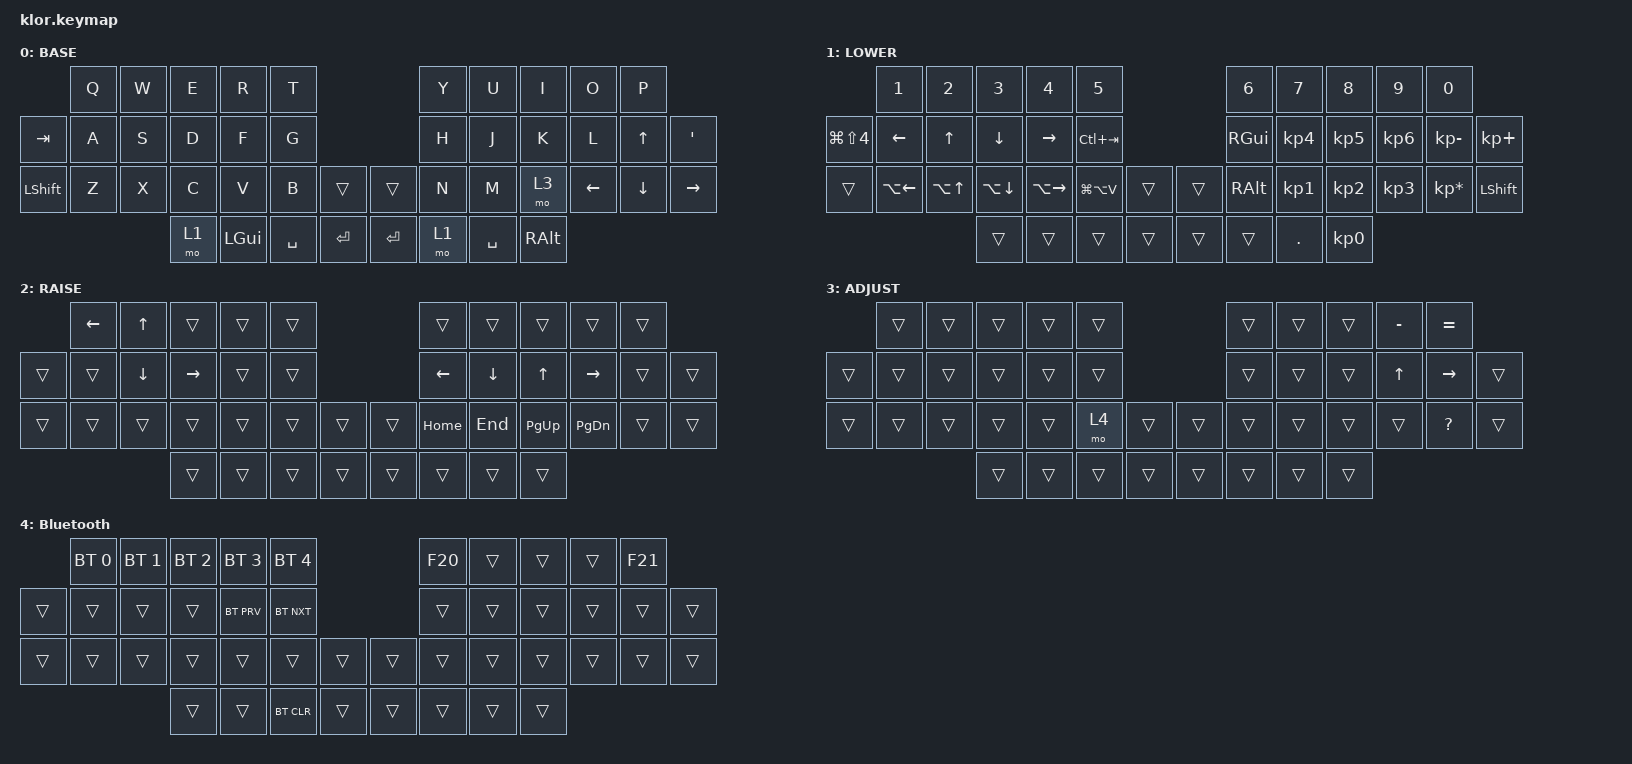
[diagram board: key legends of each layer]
//                               █         █    █            ▄▄▄▀▀▀▀▀▀▄▄▄        █▀▀▀▀▀▀▀▀▀▀█
//                               █        █     █          ▄▀            ▀▄      █          █
//                               █       █      █        ▄▀                ▀▄    █          █
//                               █      █       █        █                  █    █          █
//                               █     █        █       █                    █   █          █
//                               █    █         █       █                    █   █▄▄▄▄▄▄▄▄▄▄█
//                               █   █ █        █       █                    █   █      █
//                               █  █   █       █        █                  █    █       █
//                               █ █     █      █        ▀▄                ▄▀    █        █
//                               ██       █     █          ▀▄            ▄▀      █         █
//                               █         █    █▄▄▄▄▄▄▄▄    ▀▀▀▄▄▄▄▄▄▀▀▀        █          █
//
// ▄▄▄▄▄▄▄▄▄▄▄▄▄▄▄▄▄▄▄▄▄▄▄▄▄▄▄▄▄▄▄▄▄▄▄▄▄▄▄▄▄▄▄▄▄▄▄▄▄▄▄▄▄▄▄▄▄▄▄▄▄▄▄▄▄▄▄▄▄▄▄▄▄▄▄▄▄▄▄▄▄▄▄▄▄▄▄▄▄▄▄▄▄▄▄▄▄▄▄▄▄▄▄▄▄▄▄▄▄▄▄▄▄▄▄▄▄▄▄▄▄▄▄▄▄

#include <behaviors.dtsi>
#include <dt-bindings/zmk/keys.h>
#include <dt-bindings/zmk/bt.h>

#define BASE   0
#define LOWER  1
#define RAISE  2
#define ADJUST 3

/ {
    combos {
        compatible = "zmk,combos";

        combo_esc {
            timeout-ms = <50>;
            key-positions = <0 1>;
            bindings = <&kp ESC>;
        };

        combo_PP {
            timeout-ms = <50>;
            key-positions = <4 5>;
            bindings = <&kp K_PP>;
        };

        combo_EXCLAMATION {
            bindings = <&kp EXCLAMATION>;
            key-positions = <1 2>;
        };

        combo_AT_SIGN {
            bindings = <&kp AT_SIGN>;
            key-positions = <12 13 14>;
        };

        combo_HASH {
            bindings = <&kp HASH>;
            key-positions = <0 2>;
        };

        combo_DOLLAR {
            bindings = <&kp DOLLAR>;
            key-positions = <1 4>;
        };

        combo_PERCENT {
            bindings = <&kp PERCENT>;
            key-positions = <1 3>;
        };

        combo_CARET {
            bindings = <&kp CARET>;
            key-positions = <17 19>;
        };

        combo_AMPERSAND {
            bindings = <&kp AMPERSAND>;
            key-positions = <18 17>;
        };

        combo_ASTERISK {
            bindings = <&kp ASTERISK>;
            key-positions = <18 19>;
        };

        combo_LEFT_PARENTHESIS {
            bindings = <&kp LEFT_PARENTHESIS>;
            key-positions = <6 7>;
        };

        combo_RIGHT_PARENTHESIS {
            bindings = <&kp RIGHT_PARENTHESIS>;
            key-positions = <7 8>;
        };

        combo_VOLUME_UP {
            bindings = <&kp C_VOLUME_UP>;
            key-positions = <25 26>;
        };

        combo_VOLUME_DOWN {
            bindings = <&kp C_VOLUME_DOWN>;
            key-positions = <23 24>;
        };

        combo_PLAY_PAUSE {
            bindings = <&kp C_PP>;
            key-positions = <24 25>;
        };

        combo_MUTE {
            bindings = <&kp C_MUTE>;
            key-positions = <23 24 25>;
        };

        Combo_BACKSPACE {
            bindings = <&kp BACKSPACE>;
            key-positions = <5 6>;
        };

        combo_DELETE {
            bindings = <&kp DELETE>;
            key-positions = <3 4>;
        };

        combo_MINUS {
            bindings = <&kp MINUS>;
            key-positions = <14 15>;
        };

        combo_UNDERSCORE {
            bindings = <&kp UNDERSCORE>;
            key-positions = <26 27>;
        };

        combo_EQUAL {
            bindings = <&kp EQUAL>;
            key-positions = <16 17>;
        };

        Combo_PLUS {
            bindings = <&kp PLUS>;
            key-positions = <30 31>;
        };

        combo_MO2 {
            bindings = <&mo 2>;
            key-positions = <10 37>;
        };

        new_combo {
            bindings = <&kp RIGHT_GUI>;
            key-positions = <43 35>;
        };

        combo_Right_Bracket {
            bindings = <&kp RIGHT_BRACKET>;
            key-positions = <21 20>;
        };

        combo_Left_Bracket {
            bindings = <&kp LEFT_BRACKET>;
            key-positions = <20 33>;
        };

        combo_Blackslash {
            bindings = <&kp BACKSLASH>;
            key-positions = <9 19>;
        };

        new_combo {
            bindings = <&kp LEFT_ALT>;
            key-positions = <22 38>;
        };

        combo_Media_Previous {
            bindings = <&kp C_RW>;
            key-positions = <11 24>;
        };

        combo_Media_Next {
            bindings = <&kp C_FF>;
            key-positions = <25 14>;
        };

        combo_Left_Control {
            bindings = <&kp LEFT_CONTROL>;
            key-positions = <22 36>;
        };

        combo_SINGLE_QUOTE {
            bindings = <&kp SINGLE_QUOTE>;
            key-positions = <8 9>;
        };

        combo_APOSTROPHE {
            bindings = <&kp DOUBLE_QUOTES>;
            key-positions = <9 8 18>;
        };

        combo_QUESTION {
            bindings = <&kp QUESTION>;
            key-positions = <17 18 19>;
        };

        combo_SLASH {
            bindings = <&kp SLASH>;
            key-positions = <19 9 32>;
        };

        combo_COLON {
            bindings = <&kp COLON>;
            key-positions = <32 33 31>;
        };

        combo_SEMICOLON {
            bindings = <&kp SEMICOLON>;
            key-positions = <30 31 32>;
        };

        combo_DOT {
            bindings = <&kp DOT>;
            key-positions = <17 8 18>;
        };

        combo_COMMA {
            bindings = <&kp COMMA>;
            key-positions = <16 6 7>;
        };

        combo_SLASH2 {
            bindings = <&kp SLASH>;
            key-positions = <30 17 18>;
        };

        combo_Enter_Left {
            bindings = <&kp ENTER>;
            key-positions = <2 1 3>;
        };

        combo_Enter_Right {
            bindings = <&kp ENTER>;
            key-positions = <6 7 8>;
        };
    };

    keymap {
        compatible = "zmk,keymap";

        // ▄▄▄▄▄▄▄▄▄▄▄▄▄▄▄▄▄▄▄▄▄▄▄▄▄▄▄▄▄▄▄▄▄▄▄▄▄▄▄▄▄▄▄▄▄▄▄▄▄▄▄▄▄▄▄▄▄▄▄▄▄▄▄▄▄▄▄▄▄▄▄▄▄▄▄▄▄▄▄▄▄▄▄▄▄▄▄▄▄▄▄▄▄▄▄▄▄▄▄▄▄▄▄▄▄▄▄▄▄▄▄▄▄▄▄▄▄▄▄▄▄▄▄▄▄▄▄▄▄▄▄▄▄▄▄▄▄▄▄▄▄▄

        BASE {
            // ┌───────────────────────────────────────────────────────────┐

            label = "BASE";

            // └───────────────────────────────────────────────────────────┘
            /*          
             ┌─────────┬─────────┬─────────┬─────────┬─────────┐                    ┌─────────┬─────────┬─────────┬─────────┬─────────┐
             │    Q    │    W    │    E    │    R    │    T    │                    │    Y    │    U    │    I    │    O    │    P    │
   ┌─────────┼─────────┼─────────┼─────────┼─────────┼─────────┤                    ├─────────┼─────────┼─────────┼─────────┼─────────┼─────────┐
   │   TAB   │    A    │    S    │    D    │    F    │    G    │                    │    H    │    J    │    K    │    L    │    ;    │    '    │
   ├─────────┼─────────┼─────────┼─────────┼─────────┼─────────┤╭────────╮╭────────╮├─────────┼─────────┼─────────┼─────────┼─────────┼─────────┤
   │   SFT   │    Z    │    X    │    C    │    V    │    B    ││  MUTE  ││PLY/PSE ││    M    │    N    │    ,    │    .    │    /    │  ADJUST │
   └─────────┴─────────┴─────────┼─────────┼─────────┼─────────┼╰────────╯╰────────╯┼─────────┼─────────┼─────────┼─────────┴─────────┴─────────┘
                                 │  LOWER  │   CMD   │  SPACE  │  ENTER  ││  ENTER  │  LOWER  │  SPACE  │  OPTION │
                                 └─────────┴─────────┴─────────┴─────────┘└─────────┴─────────┴─────────┴─────────┘ */

            bindings = <
             &kp Q   &kp W   &kp E     &kp R      &kp T                         &kp Y      &kp U          &kp I     &kp O     &kp P
   &kp TAB   &kp A   &kp S   &kp D     &kp F      &kp G                         &kp H      &kp J          &kp K     &kp L    &kp UP  &kp APOSTROPHE
 &kp LSHFT   &kp Z   &kp X   &kp C     &kp V      &kp B     &trans     &trans   &kp N      &kp M          &mo 3  &kp LEFT  &kp DOWN       &kp RIGHT
                             &mo 1  &kp LGUI  &kp SPACE  &kp ENTER  &kp ENTER   &mo 1  &kp SPACE  &kp RIGHT_ALT
            >;
        };

        // ▄▄▄▄▄▄▄▄▄▄▄▄▄▄▄▄▄▄▄▄▄▄▄▄▄▄▄▄▄▄▄▄▄▄▄▄▄▄▄▄▄▄▄▄▄▄▄▄▄▄▄▄▄▄▄▄▄▄▄▄▄▄▄▄▄▄▄▄▄▄▄▄▄▄▄▄▄▄▄▄▄▄▄▄▄▄▄▄▄▄▄▄▄▄▄▄▄▄▄▄▄▄▄▄▄▄▄▄▄▄▄▄▄▄▄▄▄▄▄▄▄▄▄▄▄▄▄▄▄▄▄▄▄▄▄▄▄▄▄▄▄▄

        LOWER {
            // ┌───────────────────────────────────────────────────────────┐

            label = "LOWER";

            // └───────────────────────────────────────────────────────────┘
            /*          
             ┌─────────┬─────────┬─────────┬─────────┬─────────┐                    ┌─────────┬─────────┬─────────┬─────────┬─────────┐
             │    1    │    2    │    3    │    4    │    5    │                    │    6    │    7    │    8    │    9    │    0    │
   ┌─────────┼─────────┼─────────┼─────────┼─────────┼─────────┤                    ├─────────┼─────────┼─────────┼─────────┼─────────┼─────────┐
   │ MacOsSS |    <    │    ^    │    V    │    >    │ Drawing │                    │    ]    │    4    │    5    │    6    │    -    │     +   │
   ├─────────┼─────────┼─────────┼─────────┼─────────┼─────────┤╭────────╮╭────────╮├─────────┼─────────┼─────────┼─────────┼─────────┼─────────┤
   │         │    <-   │   |^|   │   |V|   │    ->   │  Alfred ││        ││        ││    }    │    1    │    2    │    3    │    *    │         │
   └─────────┴─────────┴─────────┼─────────┼─────────┼─────────┼╰────────╯╰────────╯┼─────────┼─────────┼─────────┼─────────┴─────────┴─────────┘
                                 │         │         │         │         ││         │         │  DELETE │    0    │
                                 └─────────┴─────────┴─────────┴─────────┘└─────────┴─────────┴─────────┴─────────┘ */

            bindings = <
                       &kp N1      &kp N2        &kp N3         &kp N4         &kp N5                         &kp N6     &kp N7     &kp N8     &kp N9           &kp N0
 &kp LG(LS(N4))      &kp LEFT      &kp UP      &kp DOWN      &kp RIGHT    &kp LC(TAB)                       &kp RGUI  &kp KP_N4  &kp KP_N5  &kp KP_N6     &kp KP_MINUS     &kp KP_PLUS
         &trans  &kp LA(LEFT)  &kp LA(UP)  &kp LA(DOWN)  &kp LA(RIGHT)  &kp LG(LA(V))  &trans  &trans  &kp RIGHT_ALT  &kp KP_N1  &kp KP_N2  &kp KP_N3  &kp KP_MULTIPLY  &kp LEFT_SHIFT
                                                 &trans         &trans         &trans  &trans  &trans         &trans    &kp DOT  &kp KP_N0
            >;
        };

        // ▄▄▄▄▄▄▄▄▄▄▄▄▄▄▄▄▄▄▄▄▄▄▄▄▄▄▄▄▄▄▄▄▄▄▄▄▄▄▄▄▄▄▄▄▄▄▄▄▄▄▄▄▄▄▄▄▄▄▄▄▄▄▄▄▄▄▄▄▄▄▄▄▄▄▄▄▄▄▄▄▄▄▄▄▄▄▄▄▄▄▄▄▄▄▄▄▄▄▄▄▄▄▄▄▄▄▄▄▄▄▄▄▄▄▄▄▄▄▄▄▄▄▄▄▄

        RAISE {
            // ┌───────────────────────────────────────────────────────────┐

            label = "RAISE";

            // └───────────────────────────────────────────────────────────┘
            /*           
             ┌─────────┬─────────┬─────────┬─────────┬─────────┐                    ┌─────────┬─────────┬─────────┬─────────┬─────────┐
             │         │         │         │         │         │                    │         │         │         │         │         │
   ┌─────────┼─────────┼─────────┼─────────┼─────────┼─────────┤                    ├─────────┼─────────┼─────────┼─────────┼─────────┼─────────┐
   │         │         │         │         │         │         │                    │   LEFT  │  DOWN   │   UP    │  RIGHT  │         │         │
   ├─────────┼─────────┼─────────┼─────────┼─────────┼─────────┤╭────────╮╭────────╮├─────────┼─────────┼─────────┼─────────┼─────────┼─────────┤
   │         │         │         │         │         │         ││        ││        ││   HOME  │  END    │  PGUP   │  PGDN   │         │         │
   └─────────┴─────────┴─────────┼─────────┼─────────┼─────────┼╰────────╯╰────────╯┼─────────┼─────────┼─────────┼─────────┴─────────┴─────────┘
                                 │         │         │         │         ││         │         │         │         │
                                 └─────────┴─────────┴─────────┴─────────┘└─────────┴─────────┴─────────┴─────────┘ */

            bindings = <
         &kp LEFT_ARROW    &kp UP_ARROW           &trans  &trans  &trans                    &trans    &trans     &trans     &trans  &trans
 &trans          &trans  &kp DOWN_ARROW  &kp RIGHT_ARROW  &trans  &trans                  &kp LEFT  &kp DOWN     &kp UP  &kp RIGHT  &trans  &trans
 &trans          &trans          &trans           &trans  &trans  &trans  &trans  &trans  &kp HOME   &kp END  &kp PG_UP  &kp PG_DN  &trans  &trans
                                                  &trans  &trans  &trans  &trans  &trans    &trans    &trans     &trans
            >;
        };

        // ▄▄▄▄▄▄▄▄▄▄▄▄▄▄▄▄▄▄▄▄▄▄▄▄▄▄▄▄▄▄▄▄▄▄▄▄▄▄▄▄▄▄▄▄▄▄▄▄▄▄▄▄▄▄▄▄▄▄▄▄▄▄▄▄▄▄▄▄▄▄▄▄▄▄▄▄▄▄▄▄▄▄▄▄▄▄▄▄▄▄▄▄▄▄▄▄▄▄▄▄▄▄▄▄▄▄▄▄▄▄▄▄▄▄▄▄▄▄▄▄▄▄▄▄▄

        ADJUST {
            // ┌───────────────────────────────────────────────────────────┐

            label = "ADJUST";

            // └───────────────────────────────────────────────────────────┘
            /*           
             ┌─────────┬─────────┬─────────┬─────────┬─────────┐                    ┌─────────┬─────────┬─────────┬─────────┬─────────┐
             │  BT_1   │   BT_2  │   BT_3  │   BT_4  │  BT_5   │                    │         │         │         │   -/_   │   =/+   │
   ┌─────────┼─────────┼─────────┼─────────┼─────────┼─────────┤                    ├─────────┼─────────┼─────────┼─────────┼─────────┼─────────┐
   │  BT_CLR │  BT_NXT │         │         │         │         │                    │         │         │    <    │    ^    │    >    │         │
   ├─────────┼─────────┼─────────┼─────────┼─────────┼─────────┤╭────────╮╭────────╮├─────────┼─────────┼─────────┼─────────┼─────────┼─────────┤
   │         │  BT_PRV │         │         │         │         ││        ││        ││         │         │         │    V    │         │         │
   └─────────┴─────────┴─────────┼─────────┼─────────┼─────────┼╰────────╯╰────────╯┼─────────┼─────────┼─────────┼─────────┴─────────┴─────────┘
                                 │         │         │         │         ││         │         │         │         │
                                 └─────────┴─────────┴─────────┴─────────┘└─────────┴─────────┴─────────┴─────────┘ */

            bindings = <
         &trans  &trans  &trans  &trans  &trans                  &trans  &trans  &trans  &kp MINUS     &kp EQUAL
 &trans  &trans  &trans  &trans  &trans  &trans                  &trans  &trans  &trans     &kp UP     &kp RIGHT  &trans
 &trans  &trans  &trans  &trans  &trans   &mo 4  &trans  &trans  &trans  &trans  &trans     &trans  &kp QUESTION  &trans
                         &trans  &trans  &trans  &trans  &trans  &trans  &trans  &trans
            >;
        };

        Bluetooth {
            bindings = <
         &bt BT_SEL 0  &bt BT_SEL 1  &bt BT_SEL 2  &bt BT_SEL 3  &bt BT_SEL 4                  &kp F20  &trans  &trans  &trans  &kp F21
 &trans        &trans        &trans        &trans    &bt BT_PRV    &bt BT_NXT                   &trans  &trans  &trans  &trans   &trans  &trans
 &trans        &trans        &trans        &trans        &trans        &trans  &trans  &trans   &trans  &trans  &trans  &trans   &trans  &trans
                                           &trans        &trans    &bt BT_CLR  &trans  &trans   &trans  &trans  &trans
            >;
        };
    };
};
